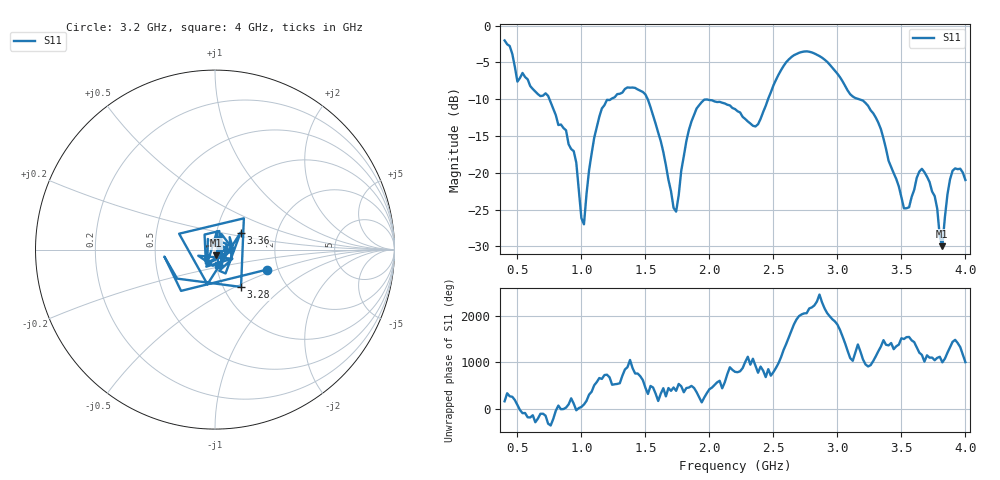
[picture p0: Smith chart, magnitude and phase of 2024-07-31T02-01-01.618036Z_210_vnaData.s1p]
!Created with skrf (http://scikit-rf.org).
# Hz S RI R 50.0
!freq ReS11 ImS11
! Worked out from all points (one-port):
!   181 points, 400 MHz to 4 GHz, reference 50 ohm
!   lowest |S11| = -30.0 dB at 3.82 GHz (marker M1), VSWR 1.07, Z = 50.3 - j3.17 ohm
!   |S11| at or under -10 dB: 750.3 MHz to 1.231 GHz (480.4 MHz wide, 48.5 % of centre); 1.518 GHz to 2.458 GHz (940.2 MHz wide, 47.3 % of centre); 3.167 GHz to end of sweep
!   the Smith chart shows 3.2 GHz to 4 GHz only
!   S11 on the Smith chart (normalised r, x): 3.2 GHz: 1.74, -0.43; 3.28 GHz: 1.21, -0.54; 3.36 GHz: 1.30, +0.25; 4 GHz: 1.02, -0.18
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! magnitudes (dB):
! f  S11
! 400 MHz  -2.0
! 500 MHz  -7.6
! 740 MHz  -9.6
! 860 MHz  -13.9
! 960 MHz  -18.6
! 1.02 GHz  -27.0
! 1.06 GHz  -19.6
! 1.14 GHz  -12.4
! 1.3 GHz  -9.3
! 1.5 GHz  -9.4
! 1.72 GHz  -24.8
! 1.76 GHz  -23.1
! 1.82 GHz  -15.7
! 1.9 GHz  -11.3
! 2.2 GHz  -11.3
! 2.38 GHz  -13.4
! 2.66 GHz  -4.0
! 2.88 GHz  -4.4
! 3.1 GHz  -9.3
! 3.2 GHz  -10.2
! 3.28 GHz  -11.9
! 3.36 GHz  -15.3
! 3.56 GHz  -24.7
! 3.66 GHz  -19.5
! 3.76 GHz  -23.2
! 3.82 GHz  -30.0
! 3.9 GHz  -19.7
! 4 GHz  -21.0
